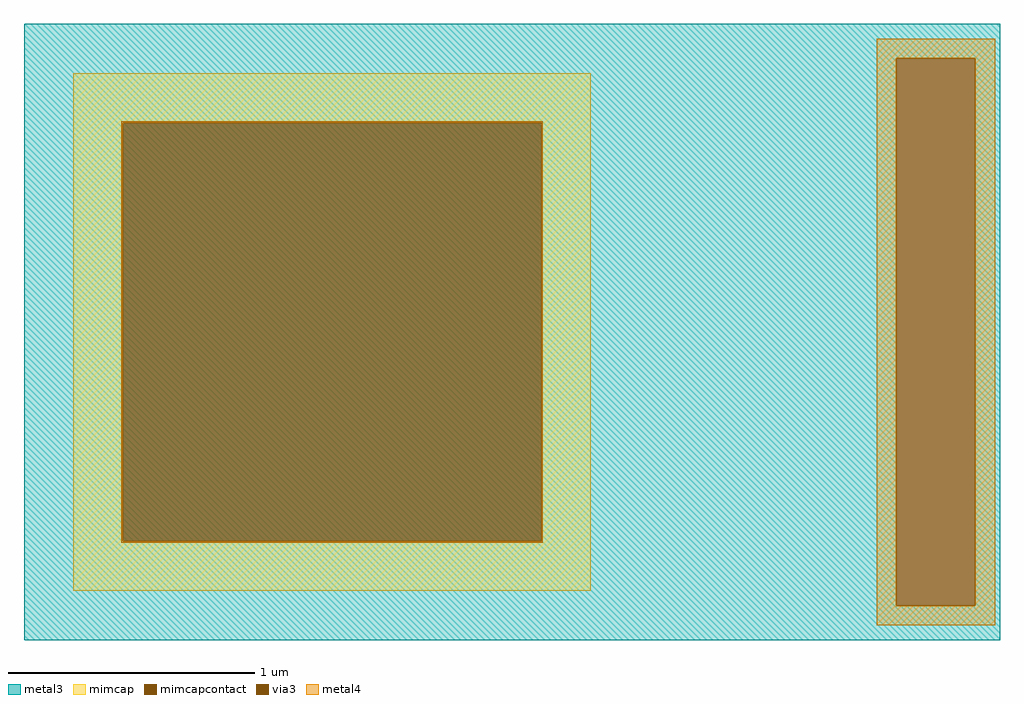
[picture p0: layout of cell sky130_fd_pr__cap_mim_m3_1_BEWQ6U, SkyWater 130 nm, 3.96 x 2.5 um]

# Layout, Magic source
magic
tech sky130A
magscale 1 2
<< metal3 >>
rect -396 222 396 250
rect -396 -222 312 222
rect 376 -222 396 222
rect -396 -250 396 -222
<< via3 >>
rect 312 -222 376 222
<< mimcap >>
rect -356 170 64 210
rect -356 -170 -316 170
rect 24 -170 64 170
rect -356 -210 64 -170
<< mimcapcontact >>
rect -316 -170 24 170
<< metal4 >>
rect 296 222 392 238
rect -317 170 25 171
rect -317 -170 -316 170
rect 24 -170 25 170
rect -317 -171 25 -170
rect 296 -222 312 222
rect 376 -222 392 222
rect 296 -238 392 -222
<< properties >>
string FIXED_BBOX -396 -250 104 250
string gencell sky130_fd_pr__cap_mim_m3_1
string library sky130
string parameters w 2.1 l 2.1 val 10.416 carea 2.00 cperi 0.19 nx 1 ny 1 dummy 0 square 0 lmin 2.00 wmin 2.00 lmax 30.0 wmax 30.0 dc 0 bconnect 1 tconnect 1 ccov 100
<< end >>
